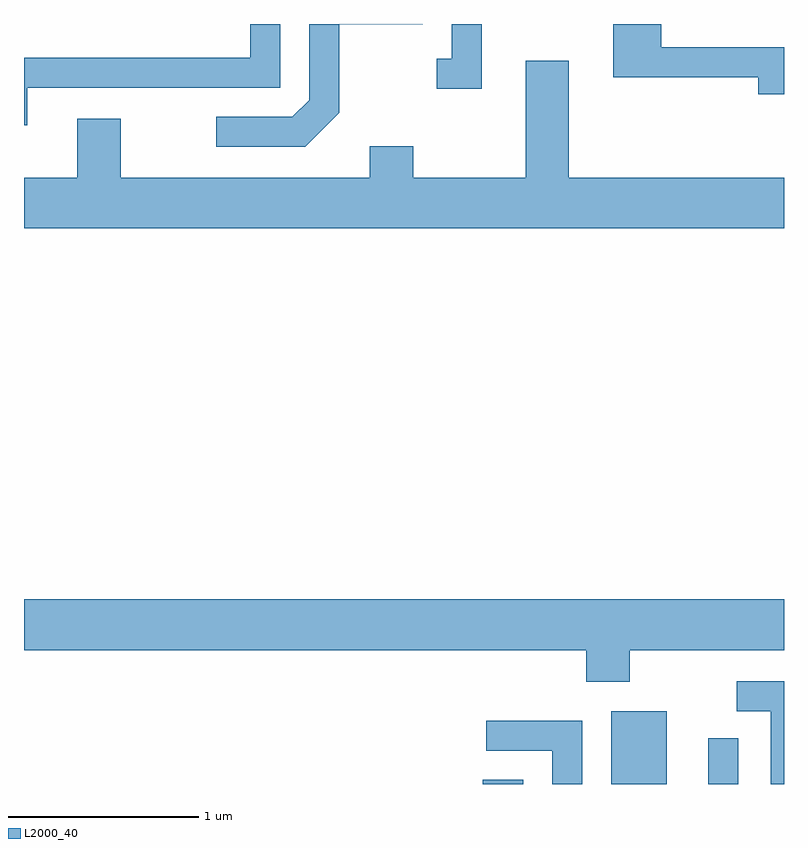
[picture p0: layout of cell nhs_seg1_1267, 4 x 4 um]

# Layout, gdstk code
import gdstk
lib = gdstk.Library(unit=1e-6, precision=1e-09)
def R(c, l, rs):  # rectangles x0, y0, x1, y1
    for r in rs: c.add(gdstk.rectangle(r[:2], r[2:], *l))
def P(c, l, *ps):  # polygons
    for p in ps: c.add(gdstk.Polygon(p, *l))
L2000_40 = (2000, 40)

nhs_seg1_1267 = lib.new_cell('nhs_seg1_1267')
R(nhs_seg1_1267, L2000_40, [(226.026,947.712,226.239,947.734), (226.701,947.712,226.994,948.094), (227.211,947.712,227.369,947.953)])
P(nhs_seg1_1267, L2000_40, [(226.019,951.712),(225.861,951.712),(225.861,951.529),(225.783,951.529),(225.783,951.371),(226.019,951.371)],
  [(227.611,951.589),(226.964,951.589),(226.964,951.712),(226.711,951.712),(226.711,951.431),(227.476,951.431),(227.476,951.341),(227.611,951.341)],
  [(223.629,951.376),(224.959,951.376),(224.959,951.712),(224.801,951.712),(224.801,951.534),(223.611,951.534),(223.611,951.178),(223.629,951.178)],
  [(225.269,951.244),(225.269,951.711),(225.709,951.711),(225.709,951.712),(225.111,951.712),(225.111,951.312),(225.024,951.224),(224.623,951.224),(224.623,951.066),(225.092,951.066)],
  [(227.611,950.904),(226.479,950.904),(226.479,951.519),(226.251,951.519),(226.251,950.904),(225.659,950.904),(225.659,951.069),(225.431,951.069),(225.431,950.904),(224.119,950.904),(224.119,951.214),(223.891,951.214),(223.891,950.904),(223.611,950.904),(223.611,950.636),(227.611,950.636)],
  [(226.799,948.416),(227.611,948.416),(227.611,948.684),(223.611,948.684),(223.611,948.416),(226.571,948.416),(226.571,948.251),(226.799,948.251)],
  [(227.611,948.254),(227.363,948.254),(227.363,948.096),(227.541,948.096),(227.541,947.712),(227.611,947.712)],
  [(226.549,948.044),(226.043,948.044),(226.043,947.886),(226.391,947.886),(226.391,947.712),(226.549,947.712)])

lib.write_gds('nhs_seg1_1267.gds')
